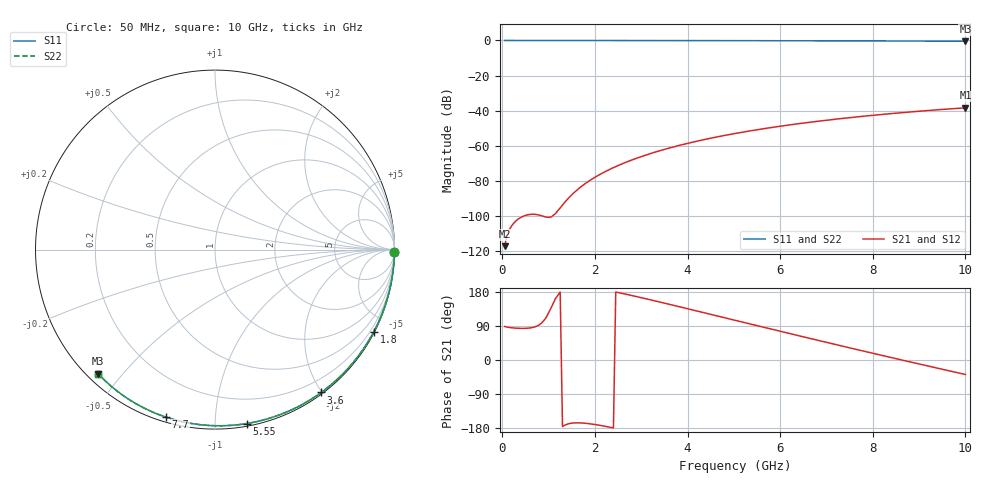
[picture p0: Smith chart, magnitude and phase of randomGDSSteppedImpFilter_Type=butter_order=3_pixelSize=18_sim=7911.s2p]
! freq	dB(S11)	phase(S11)	dB(S12)	phase(S12)
!  dB(S21)	phase(S21)	dB(S22)	phase(S22)
!S-par simulation data
#  GHz  S  DB  R 50
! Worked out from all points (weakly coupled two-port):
!   200 points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, 50 MHz to 10 GHz, reference 50 ohm
!   highest |S21| = -38.34 dB at 10 GHz (marker M1); lowest = -117.1 dB at 50 MHz (marker M2)
!   lowest |S11| = -0.4 dB at 10 GHz (marker M3), VSWR 38.91, Z = 1.52 - j21.6 ohm
!   |S11| at or under -10 dB: nowhere
!   |S22| runs from -0.4 to 0.0 dB; largest |S21 - S12| = 0
!   S11 on the Smith chart (normalised r, x): 50 MHz: open; 1.8 GHz: 0.04, -4.12; 3.6 GHz: 0.02, -1.99; 5.55 GHz: 0.02, -1.20; 7.7 GHz: 0.02, -0.75; 10 GHz: 0.03, -0.43
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0.05  -0.00 -0.8  -117.11 88.4  -117.11 88.4  -0.00 -0.8
0.9  -0.02 -13.8  -100.24 104.7  -100.24 104.7  -0.02 -13.8
1.75  -0.03 -26.5  -82.27 -166.5  -82.27 -166.5  -0.03 -26.5
1.8  -0.03 -27.3  -81.32 -167.0  -81.32 -167.0  -0.03 -27.3
1.85  -0.04 -28.0  -80.41 -167.7  -80.41 -167.7  -0.04 -28.0
1.9  -0.04 -28.8  -79.54 -168.5  -79.54 -168.5  -0.04 -28.8
2.05  -0.04 -31.0  -77.13 -171.2  -77.13 -171.2  -0.04 -31.0
2.25  -0.04 -33.9  -74.29 -175.6  -74.29 -175.6  -0.04 -33.9
2.45  -0.05 -36.9  -71.79 179.4  -71.79 179.4  -0.05 -36.9
2.65  -0.05 -39.8  -69.55 174.2  -69.55 174.2  -0.05 -39.8
3  -0.06 -44.8  -66.12 164.5  -66.12 164.5  -0.06 -44.8
3.4  -0.07 -50.5  -62.77 153.0  -62.77 153.0  -0.07 -50.5
3.6  -0.07 -53.4  -61.28 147.2  -61.28 147.2  -0.07 -53.4
4.3  -0.09 -63.0  -56.77 126.5  -56.77 126.5  -0.09 -63.0
5.05  -0.11 -73.1  -52.85 104.1  -52.85 104.1  -0.11 -73.1
5.55  -0.13 -79.7  -50.62 89.2  -50.62 89.2  -0.13 -79.7
6.1  -0.15 -86.7  -48.45 72.9  -48.45 72.9  -0.15 -86.7
6.7  -0.18 -94.2  -46.37 55.3  -46.37 55.3  -0.18 -94.2
7.7  -0.24 -106.4  -43.40 26.3  -43.40 26.3  -0.24 -106.4
8.35  -0.29 -114.1  -41.75 7.8  -41.75 7.8  -0.29 -114.1
9.15  -0.36 -123.5  -39.97 -14.7  -39.97 -14.7  -0.36 -123.5
10  -0.45 -133.3  -38.34 -38.2  -38.34 -38.2  -0.45 -133.3
